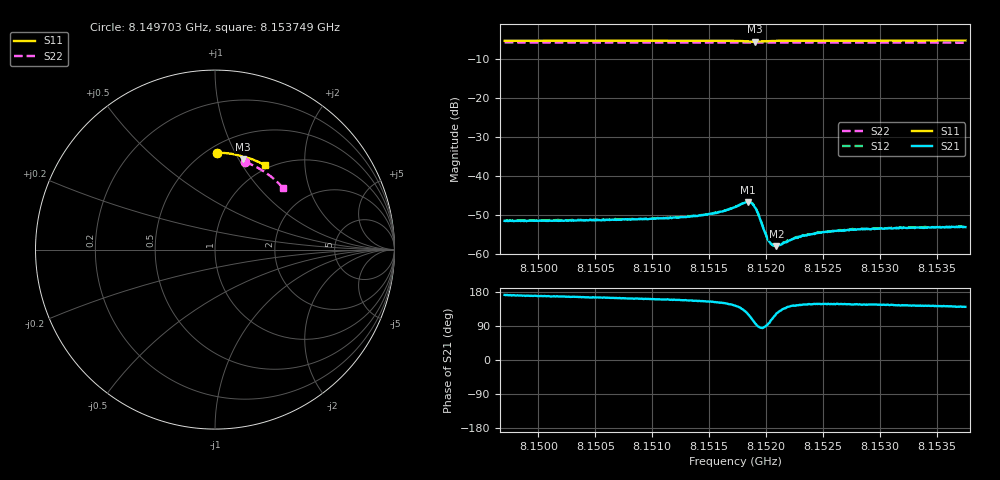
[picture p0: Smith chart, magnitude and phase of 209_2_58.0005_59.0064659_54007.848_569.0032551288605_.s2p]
#  HZ  S  RI  R  50.00
! Rohde & Schwarz Vector Network Analyzer
! Rohde-Schwarz,ZNB20-2Port,1311601062101988,3.16
! Created: UTC 3/21/2024, 12:59:40 AM
! freq[Hz]  re:S11  im:S11  re:S21  im:S21  re:S12  im:S12  re:S22  im:S22
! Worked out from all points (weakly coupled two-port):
!   401 points, 8.149703 GHz to 8.153749 GHz, reference 50 ohm
!   highest |S21| = -46.70 dB at 8.151838 GHz (marker M1); lowest = -58.0 dB at 8.15209 GHz (marker M2)
!   lowest |S11| = -5.6 dB at 8.151898 GHz (marker M3), VSWR 3.23, Z = 37.3 + j52 ohm
!   |S11| at or under -10 dB: nowhere
!   |S22| runs from -5.8 to -5.7 dB; largest |S21 - S12| = 0.00012
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8.1497033e9  0.00984 0.5395  -0.00262 0.000379  -0.00264 0.000439  0.1675 0.488
8.150381e9  0.0573 0.5377  -0.00261 0.000669  -0.00262 0.000691  0.2081 0.4713
8.1510587e9  0.1046 0.5315  -0.00268 0.000969  -0.00267 0.00101  0.2471 0.4511
8.1512812e9  0.1205 0.5284  -0.00274 0.00113  -0.00278 0.00118  0.2593 0.4438
8.1514633e9  0.1335 0.5252  -0.00287 0.00134  -0.00286 0.00138  0.2694 0.4376
8.1516251e9  0.146 0.5212  -0.00307 0.00174  -0.00305 0.0018  0.2781 0.4318
8.1517263e9  0.154 0.5168  -0.0032 0.00236  -0.00317 0.00241  0.2834 0.428
8.1518376e9  0.1595 0.5069  -0.00245 0.00392  -0.00239 0.00398  0.2891 0.4237
8.1518679e9  0.1578 0.5042  -0.00163 0.0042  -0.00156 0.00427  0.2905 0.4226
8.1518982e9  0.1549 0.5037  -0.000614 0.00395  -0.000566 0.00405  0.292 0.4214
8.1519286e9  0.1531 0.5059  7.89e-05 0.00328  0.000119 0.00332  0.2935 0.4205
8.1519893e9  0.1555 0.5115  7.29e-05 0.00188  8.6e-05 0.0019  0.2967 0.4183
8.1520196e9  0.1584 0.513  -0.000171 0.00148  -0.000139 0.00148  0.2982 0.4173
8.15205e9  0.1614 0.5138  -0.000391 0.00125  -0.000403 0.00127  0.3 0.4162
8.1520702e9  0.1633 0.514  -0.000543 0.00116  -0.000515 0.00116  0.301 0.4155
8.1520904e9  0.1652 0.5141  -0.000683 0.00105  -0.000662 0.0011  0.3019 0.4147
8.1523028e9  0.1824 0.5112  -0.00135 0.00094  -0.00138 0.000953  0.3127 0.4063
8.152404e9  0.1897 0.5091  -0.0015 0.000965  -0.00152 0.000974  0.3178 0.4022
8.1525051e9  0.1968 0.5068  -0.0016 0.00101  -0.0016 0.00103  0.3229 0.398
8.152758e9  0.214 0.5003  -0.0017 0.00112  -0.00174 0.00116  0.335 0.3874
8.1530817e9  0.2349 0.4914  -0.00174 0.00124  -0.00175 0.00124  0.35 0.3734
8.1537493e9  0.2765 0.4707  -0.0017 0.00141  -0.00169 0.00144  0.3791 0.3424
